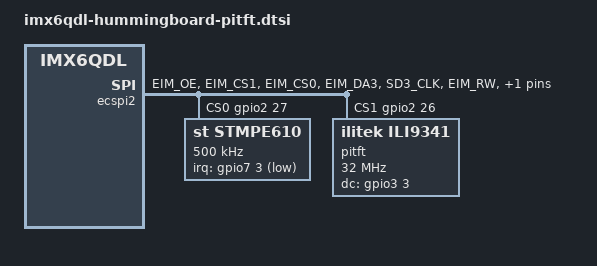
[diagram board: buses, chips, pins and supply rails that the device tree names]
&iomuxc {
	ecspi2 {
		pinctrl_ecspi2_cs_1: ecspi2_cs_grp-1 {
			fsl,pins = <
				MX6QDL_PAD_EIM_RW__GPIO2_IO26  0x100b1
				MX6QDL_PAD_EIM_LBA__GPIO2_IO27 0x100b1
			>;
		};

		pinctrl_ecspi2_1: ecspi2grp-1 {
			fsl,pins = <
				MX6QDL_PAD_EIM_OE__ECSPI2_MISO  0x100b1
				MX6QDL_PAD_EIM_CS1__ECSPI2_MOSI 0x100b1
				MX6QDL_PAD_EIM_CS0__ECSPI2_SCLK 0x100b1
				MX6QDL_PAD_EIM_DA3__GPIO3_IO03  0x100b1
				MX6QDL_PAD_SD3_CLK__GPIO7_IO03  0x80000000
			>;
		};
	};
};

&ecspi2 {
	fsl,spi-num-chipselects = <2>;
	cs-gpios = <&gpio2 27 0>, <&gpio2 26 0>;
	pinctrl-names = "default";
	pinctrl-0 = <&pinctrl_ecspi2_1 &pinctrl_ecspi2_cs_1>;
	status = "okay";

	stmpe610@0 {
		compatible = "st,stmpe610";
		reg = <0>;
		status = "okay";

		spi-max-frequency = <500000>;
		interrupts = <1>;
		irq_over_gpio = <1>;
		irq_gpio = <&gpio7 3 1>;
		irq_trigger = <2>;

		stmpe_touchscreen {
			compatible = "st,stmpe-ts";
			ts,sample-time = <4>;
			ts,mod-12b = <1>;
			ts,ref-sel = <0>;
			ts,adc-freq = <2>;
			ts,ave-ctrl = <3>;
			ts,touch-det-delay = <4>;
			ts,settling = <2>;
			ts,fraction-z = <7>;
			ts,i-drive = <0>;
		};
	};

	pitft@1{
		/* rev.A */
		/* compatible = "ilitek,ili9340"; */
		/* rev.B */
		compatible = "ilitek,ili9341";
		reg = <1>;
		status = "okay";

		spi-max-frequency = <32000000>;
		rotate = <90>;
		bgr;
		buswidth = <8>;
		dc-gpios = <&gpio3 3 0>;

		init = <0x1000001
			0x2000005
			0x1000028
			0x10000EF 0x03 0x80 0x02
			0x10000CF 0x00 0xC1 0x30
			0x10000ED 0x64 0x03 0x12 0x81
			0x10000E8 0x85 0x00 0x78
			0x10000CB 0x39 0x2C 0x00 0x34 0x02
			0x10000F7 0x20
			0x10000EA 0x00 0x00
			0x10000C0 0x23
			0x10000C1 0x10
			0x10000C5 0x3e 0x28
			0x10000C7 0x86
			0x100003A 0x55
			0x10000B1 0x00 0x18
			0x10000B6 0x08 0x82 0x27
			0x10000F2 0x00
			0x1000026 0x01
			0x10000E0 0x0F 0x31 0x2B 0x0C 0x0E 0x08 0x4E 0xF1 0x37 0x07 0x10 0x03 0x0E 0x09 0x00
			0x10000E1 0x00 0x0E 0x14 0x03 0x11 0x07 0x31 0xC1 0x48 0x08 0x0F 0x0C 0x31 0x36 0x0F
			0x1000011
			0x2000064
			0x1000029
			0x2000014>;
		debug = <0>;
	};
};

&flexcan1 {
	status = "disabled";
};
